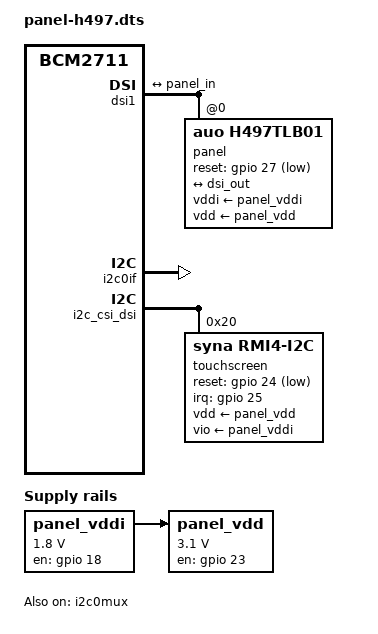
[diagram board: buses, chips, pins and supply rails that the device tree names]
// SPDX-License-Identifier: (GPL-2.0 OR MIT)
/*
 * AUO/Topwin H497TLB01 720x1280 AMOLED (RM69052) on Raspberry Pi DSI, with
 * its Synaptics S3402 touch controller (RMI4 over I2C).
 * Requires the panel-h497 kernel module (driver/) and, for touch, the
 * rmi4-psiopi modules (rmi4/), since the Pi kernel has no RMI4 driver.
 *
 * Parameters (defaults match the CM4 carrier board):
 *   dsi0           Use DSI0 instead of DSI1
 *   lanes=<n>      DSI data lanes, 1-4 (default 4; Pi 4B connector: 2)
 *   rotation=<deg> Panel mounting rotation: 0, 90, 180 or 270 (default 270,
 *                  landscape as mounted in the PsioPi)
 *   reset_gpio=<n> RESX GPIO, active low (default 27)
 *   vddi_gpio=<n>  VDDI 1.8 V LDO enable GPIO, active high (default 18)
 *   vdd_gpio=<n>   VDD 3.1 V LDO enable GPIO, active high (default 23)
 *   touch          Touch controller on i2c_csi_dsi (GPIO 44/45) at 0x20,
 *                  TP_INT GPIO 25, TP_RESX GPIO 24 (default on; touch=off
 *                  to leave it out)
 *
 * The touch controller is powered from the panel rails. Its driver keeps
 * both rails enabled while bound, so blanking only resets the panel and the
 * touch stays powered.
 *
 * Example: dtoverlay=panel-h497,lanes=2,rotation=90,reset_gpio=5
 */
/dts-v1/;
/plugin/;

#include <dt-bindings/gpio/gpio.h>

/ {
    compatible = "brcm,bcm2711";

    fragment@0 {
        target-path = "/";
        __overlay__ {
            panel_vddi: panel-vddi {
                compatible = "regulator-fixed";
                regulator-name = "panel_vddi";
                regulator-min-microvolt = <1800000>;
                regulator-max-microvolt = <1800000>;
                gpio = <&gpio 18 GPIO_ACTIVE_HIGH>;
                enable-active-high;
            };

            panel_vdd: panel-vdd {
                compatible = "regulator-fixed";
                regulator-name = "panel_vdd";
                regulator-min-microvolt = <3100000>;
                regulator-max-microvolt = <3100000>;
                gpio = <&gpio 23 GPIO_ACTIVE_HIGH>;
                enable-active-high;
                /* VDD must never come up before VDDI, whichever of the
                 * panel and touch drivers enables it first */
                vin-supply = <&panel_vddi>;
            };
        };
    };

    dsi_frag: fragment@1 {
        target = <&dsi1>;
        __overlay__ {
            status = "okay";
            #address-cells = <1>;
            #size-cells = <0>;

            port {
                dsi_out: endpoint {
                    remote-endpoint = <&panel_in>;
                };
            };

            panel: panel@0 {
                compatible = "auo,h497tlb01";
                reg = <0>;
                vddi-supply = <&panel_vddi>;
                vdd-supply = <&panel_vdd>;
                reset-gpios = <&gpio 27 GPIO_ACTIVE_LOW>;
                dsi-lanes = <4>;
                rotation = <270>;

                port {
                    panel_in: endpoint {
                        remote-endpoint = <&dsi_out>;
                    };
                };
            };
        };
    };

    /* Touch: enable the CM4's DSI/CSI I2C bus (i2c0 via the mux) */
    fragment@2 {
        target = <&i2c0if>;
        __overlay__ {
            status = "okay";
        };
    };

    fragment@3 {
        target = <&i2c0mux>;
        __overlay__ {
            status = "okay";
        };
    };

    /* TP_INT has no pull-up on the prototype board: use the Pi's */
    fragment@4 {
        target = <&gpio>;
        __overlay__ {
            touch_pins: touch_pins {
                brcm,pins = <25>;
                brcm,function = <0>;    /* input */
                brcm,pull = <2>;        /* pull-up */
            };
        };
    };

    fragment@5 {
        target = <&i2c_csi_dsi>;
        __overlay__ {
            #address-cells = <1>;
            #size-cells = <0>;
            status = "okay";

            touchscreen@20 {
                compatible = "syna,rmi4-i2c";
                reg = <0x20>;
                #address-cells = <1>;
                #size-cells = <0>;
                pinctrl-names = "default";
                pinctrl-0 = <&touch_pins>;
                interrupt-parent = <&gpio>;
                interrupts = <25 8>;    /* IRQ_TYPE_LEVEL_LOW: RMI4 ATTN */
                reset-gpios = <&gpio 24 GPIO_ACTIVE_LOW>;
                vdd-supply = <&panel_vdd>;
                vio-supply = <&panel_vddi>;
                syna,startup-delay-ms = <100>;

                rmi4-f01@1 {
                    reg = <0x1>;
                    syna,nosleep-mode = <1>;
                };

                /* Report landscape coordinates (1280 x 720) matching
                 * rotation=270: raw Y inverted, then X/Y swapped */
                touch_f12: rmi4-f12@12 {
                    reg = <0x12>;
                    touchscreen-inverted-y;
                    touchscreen-swapped-x-y;
                };
            };
        };
    };

    __overrides__ {
        dsi0 = <&dsi_frag>, "target:0=", <&dsi0>;
        lanes = <&panel>, "dsi-lanes:0";
        rotation = <&panel>, "rotation:0";
        reset_gpio = <&panel>, "reset-gpios:4";
        vddi_gpio = <&panel_vddi>, "gpio:4";
        vdd_gpio = <&panel_vdd>, "gpio:4";
        touch = <0>, "=2=3=4=5";
    };
};
